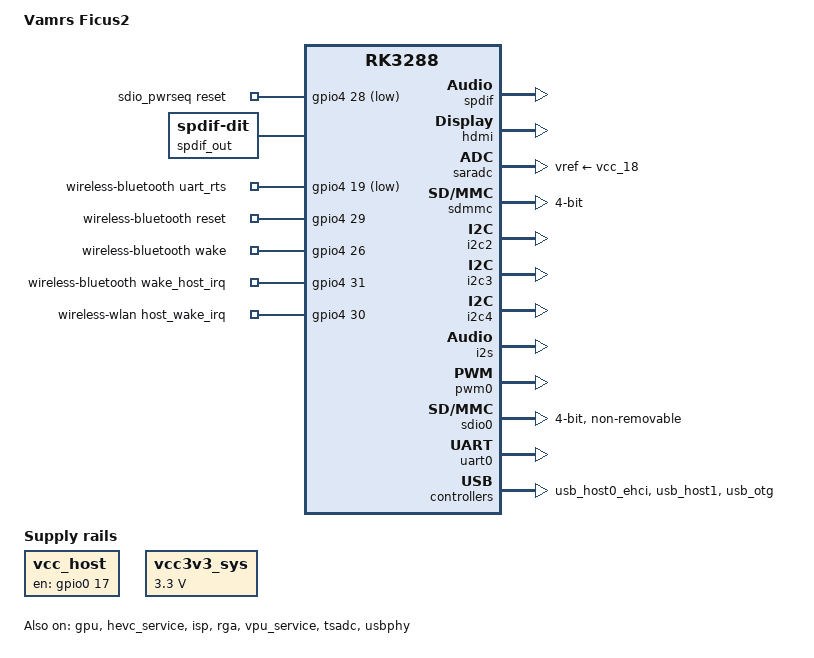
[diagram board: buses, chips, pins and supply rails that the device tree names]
/*
 * Copyright (c) 2018 Fuzhou Rockchip Electronics Co., Ltd
 *
 * SPDX-License-Identifier: (GPL-2.0+ OR MIT)
 */

/dts-v1/;
#include "rk3288-vmarc-som.dtsi"
#include "rk3288-android.dtsi"

/ {
	model = "Vamrs Ficus2";
	compatible = "vamrs ficus2", "rockchip,rk3288";

	chosen {
		bootargs = "earlycon=uart8250,mmio32,0xff690000 vmalloc=496M swiotlb=1 console=ttyFIQ0 androidboot.baseband=N/A androidboot.veritymode=enforcing androidboot.hardware=rk30board androidboot.console=ttyFIQ0 init=/init kpti=0";
	};

	edp_panel: edp-panel {
		status = "disabled";

		ports {
			panel_in_edp: endpoint {
				remote-endpoint = <&edp_out_panel>;
			};
		};
	};

	lvds_panel: lvds-panel {
		status = "disabled";
		pinctrl-0 = <&lcd_cs>;
		ports {
			panel_in_lvds: endpoint {
				remote-endpoint = <&lvds_out_panel>;
			};
		};
	};

	/* This turns on USB vbus for both host0 (ehci) and host1 (dwc2) */
	vcc_host: vcc-host-regulator {
		compatible = "regulator-fixed";
		enable-active-high;
		gpio = <&gpio0 17 GPIO_ACTIVE_HIGH>,<&gpio0 13 GPIO_ACTIVE_HIGH>,<&gpio5 18 GPIO_ACTIVE_HIGH>;
		pinctrl-names = "default";
		pinctrl-0 = <&host_vbus_drv>,<&otg_vbus_drv>,<&hub_rst>;
		regulator-name = "vcc_host";
		regulator-always-on;
		regulator-boot-on;
	};
	/*
	 * NOTE: vcc_sd isn't hooked up on v1.0 boards where power comes from
	 * vcc_io directly.  Those boards won't be able to power cycle SD cards
	 * but it shouldn't hurt to toggle this pin there anyway.
	*/
	vcc3v3_sys: sdmmc-regulator {
		compatible = "regulator-fixed";
		regulator-name = "vcc_sd";
		regulator-min-microvolt = <3300000>;
		regulator-max-microvolt = <3300000>;
		startup-delay-us = <100000>;
	};
	
	sdio_pwrseq: sdio-pwrseq {
		compatible = "mmc-pwrseq-simple";
		clocks = <&rk808 1>;
		clock-names = "ext_clock";
		pinctrl-names = "default";
		pinctrl-0 = <&wifi_enable_h>;

		/*
		 * On the module itself this is one of these (depending
		 * on the actual card populated):
		 * - SDIO_RESET_L_WL_REG_ON
		 * - PDN (power down when low)
		 */
		reset-gpios = <&gpio4 28 GPIO_ACTIVE_LOW>;
	};

	hdmi_codec: hdmi-codec {
		compatible = "simple-audio-card";
		simple-audio-card,format = "i2s";
		simple-audio-card,mclk-fs = <256>;
		simple-audio-card,name = "rockchiphdmi";

		simple-audio-card,cpu {
			sound-dai = <&i2s>;
		};

		simple-audio-card,codec {
			sound-dai = <&hdmi>;
		};
	};

	spdif_out: spdif-out {
		status = "okay";
		compatible = "linux,spdif-dit";
		#sound-dai-cells = <0>;
	};

	spdif-sound {
		status = "okay";
		compatible = "simple-audio-card";
		
		simple-audio-card,name = "ROCKCHIP,SPDIF";
		simple-audio-card,cpu {
			sound-dai = <&spdif>;
		};
	
		simple-audio-card,codec {
			sound-dai = <&spdif_out>;
		};
	};

	wireless-bluetooth {
		compatible = "bluetooth-platdata";
		uart_rts_gpios = <&gpio4 19 GPIO_ACTIVE_LOW>;
		pinctrl-names = "default", "rts_gpio";
		pinctrl-0 = <&uart0_rts>;
		pinctrl-1 = <&uart0_gpios>;
		BT,reset_gpio    = <&gpio4 29 GPIO_ACTIVE_HIGH>;
		BT,wake_gpio     = <&gpio4 26 GPIO_ACTIVE_HIGH>;
		BT,wake_host_irq = <&gpio4 31 GPIO_ACTIVE_HIGH>;
		status = "okay";
	};

	wireless-wlan {
		compatible = "wlan-platdata";
		rockchip,grf = <&grf>;
		wifi_chip_type = "ap6256";
		sdio_vref = <1800>;
		WIFI,host_wake_irq = <&gpio4 30 GPIO_ACTIVE_HIGH>;
		status = "okay";
	};
};

&firmware_android {
	compatible = "android,firmware";
	boot_devices = "ff0f0000.dwmmc";
	vbmeta {
		compatible = "android,vbmeta";
		parts = "vbmeta,boot,system,vendor,dtbo";
	};
	fstab {
		compatible = "android,fstab";
		vendor {
			compatible = "android,vendor";
			dev = "/dev/block/by-name/vendor";
			type = "ext4";
			mnt_flags = "ro,barrier=1,inode_readahead_blks=8";
			fsmgr_flags = "wait,avb";
		};
	};
};

&spdif {
	status = "okay";
	#sound-dai-cells = <0>;
};

&hdmi {
	#address-cells = <1>;
	#size-cells = <0>;
	#sound-dai-cells = <0>;
	status = "okay";
};

&saradc {
	vref-supply = <&vcc_18>;
	status = "okay";
};

&gpu {
	status = "okay";
	mali-supply = <&vdd_gpu>;
};

&sdmmc {
	supports-sd;
	bus-width = <4>;
	cap-mmc-highspeed;
	sd-uhs-sdr12;
	sd-uhs-sdr25;
	sd-uhs-sdr50;
	sd-uhs-sdr104;
	cap-sd-highspeed;
	card-detect-delay = <200>;
	disable-wp;			/* wp not hooked up */
	num-slots = <1>;
	pinctrl-names = "default";
	pinctrl-0 = <&sdmmc_clk &sdmmc_cmd &sdmmc_cd &sdmmc_bus4>;
	status = "okay";
	//vmmc-supply = <&vcc_sd>;
	vqmmc-supply = <&vccio_sd>;
	supports-sd;
};

&edp {
	force-hpd;
	status = "disabled";

	ports {
		edp_out: port@1 {
			reg = <1>;
			#address-cells = <1>;
			#size-cells = <0>;
			edp_out_panel: endpoint {
				reg = <0>;
				remote-endpoint = <&panel_in_edp>;
			};
		};
	};
};

&hevc_service {
	status = "okay";
};

&i2c2 {
	status = "okay";
	rt5640: rt5640@1c {
		status = "disabled";
	};
};

&i2c3 {
	status = "okay";
};

&i2c4 {
	status = "okay";
};

&i2s {
	#sound-dai-cells = <0>;
	status = "okay";
};

&backlight{
	status = "disabled";
};

&pwm0 {
	status = "okay";
	pinctrl-names = "default";
	pinctrl-0 = <&pwm0_pin>;
	interrupts = <GIC_SPI 78 IRQ_TYPE_LEVEL_HIGH>;
	compatible = "rockchip,remotectl-pwm";
	remote_pwm_id = <0>;
	handle_cpu_id = <0>;

	ir_key1 {
		rockchip,usercode = <0xff00>;
		rockchip,key_table =
			<0xbd	KEY_HOME>,
			<0xf8	KEY_BACK>,
			<0xbe	KEY_MENU>,
			<0xb9	KEY_UP>,
			<0xbb	KEY_DOWN>,
			<0xbe	KEY_LEFT>,
			<0xb6	KEY_RIGHT>,
			<0xbf	KEY_VOLUMEUP>,
			<0xfc	KEY_VOLUMEDOWN>,
			<0xba	KEY_ENTER>,
			<0xbc	KEY_POWER>;
	};
};

&isp {
	status = "okay";
};

&isp_mmu {
	status = "okay";
};

&rga {
	status = "okay";
};

&sdio0 {
	status = "okay";
	max-frequency = <150000000>;

	bus-width = <4>;
	cap-sd-highspeed;
	cap-sdio-irq;
	disable-wp;
	keep-power-in-suspend;
	mmc-pwrseq = <&sdio_pwrseq>;
	non-removable;
	num-slots = <1>;
	pinctrl-names = "default";
	pinctrl-0 = <&sdio0_bus4 &sdio0_cmd &sdio0_clk &sdio0_int>;
	sd-uhs-sdr104;
	supports-sdio;
};

&uart0 {
	pinctrl-names = "default";
	pinctrl-0 = <&uart0_xfer &uart0_cts>;
	status = "okay";
};

&uart2 {
	status = "disabled";
};

&vpu_service {
	status = "okay";
};

&tsadc {
	rockchip,hw-tshut-polarity = <0>; /* tshut polarity 0:LOW 1:HIGH */
	status = "okay";
};

&vopb {
	assigned-clocks = <&cru DCLK_VOP0>;
	assigned-clock-parents = <&cru PLL_GPLL>;
};

&vopl {
	assigned-clocks = <&cru DCLK_VOP1>;
	assigned-clock-parents = <&cru PLL_CPLL>;
};

&usbphy {
	status = "okay";
};

&usb_host0_ehci {
	rockchip-relinquish-port;
	//no-relinquish-port;
	status = "okay";
};

//&usb_host0_ohci {
//	status = "okay";
//};

&usb_host1 {
	status = "okay";
};

&usb_otg {
	status = "okay";
};

&lvds {
	status = "disabled";
	ports {
		lvds_out: port@1 {
			reg = <1>;
			#address-cells = <1>;
			#size-cells = <0>;

			lvds_out_panel: endpoint@0 {
				reg = <0>;
				remote-endpoint = <&panel_in_lvds>;
			};
		};
	};
};

&pinctrl {
	sdio-pwrseq {
		wifi_enable_h: wifi-enable-h {
			rockchip,pins = <4 28 RK_FUNC_GPIO &pcfg_pull_none>;
		};
	};

	sdmmc {
		/*
		 * Default drive strength isn't enough to achieve even
		 * high-speed mode on EVB board so bump up to 8ma.
		 */
		sdmmc_bus4: sdmmc-bus4 {
			rockchip,pins = <6 16 RK_FUNC_1 &pcfg_pull_up_drv_8ma>,
					<6 17 RK_FUNC_1 &pcfg_pull_up_drv_8ma>,
					<6 18 RK_FUNC_1 &pcfg_pull_up_drv_8ma>,
					<6 19 RK_FUNC_1 &pcfg_pull_up_drv_8ma>;
		};

		sdmmc_clk: sdmmc-clk {
			rockchip,pins = <6 20 RK_FUNC_1 &pcfg_pull_none_drv_8ma>;
		};

		sdmmc_cmd: sdmmc-cmd {
			rockchip,pins = <6 21 RK_FUNC_1 &pcfg_pull_up_drv_8ma>;
		};
	};

	usb {
		host_vbus_drv: host-vbus-drv {
			rockchip,pins = <0 17 RK_FUNC_GPIO &pcfg_pull_none>;
		};

		otg_vbus_drv: otg-vbus-drv {
			rockchip,pins = <0 13 RK_FUNC_GPIO &pcfg_pull_none>;
		};

		hub_rst: hub-rst {
			rockchip,pins = <5 18 RK_FUNC_GPIO &pcfg_pull_up_drv_8ma>;
		};

		pwr_3g: pwr-3g {
			rockchip,pins = <7 8 RK_FUNC_GPIO &pcfg_pull_none>;
		};
	};

	ir {
		ir_int: ir-int {
			rockchip,pins = <7 0 RK_FUNC_GPIO &pcfg_pull_up>;
		};
	};

	lcd {
		lcd_cs: lcd-cs {
			rockchip,pins = <7 4 RK_FUNC_GPIO &pcfg_pull_none>;
		};
	};

	wireless-bluetooth {
		uart0_gpios: uart0-gpios {
			rockchip,pins = <4 19 RK_FUNC_GPIO &pcfg_pull_none>;
		};
	};
};
